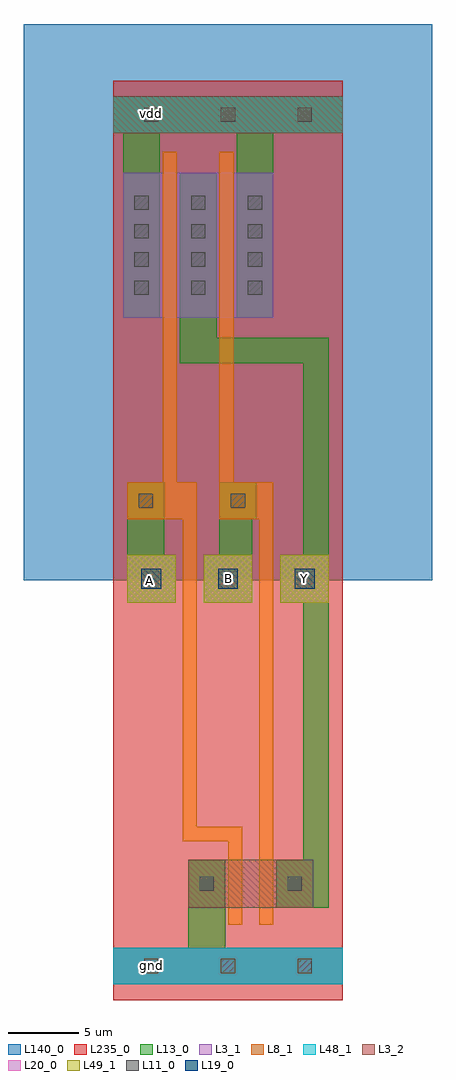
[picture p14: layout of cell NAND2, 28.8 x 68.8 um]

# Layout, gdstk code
import gdstk
lib = gdstk.Library(unit=1e-6, precision=1e-09)
def R(c, l, rs):  # rectangles x0, y0, x1, y1
    for r in rs: c.add(gdstk.rectangle(r[:2], r[2:], *l))
def A(c, l, x, y, w, h, nx, ny, dx, dy):  # array of equal rectangles
    R(c, l, [(x+i*dx, y+j*dy, x+i*dx+w, y+j*dy+h) for i in range(nx) for j in range(ny)])
def P(c, l, *ps):  # polygons
    for p in ps: c.add(gdstk.Polygon(p, *l))
L3_1 = (3, 1)
L3_2 = (3, 2)
L8_1 = (8, 1)
L11_0 = (11, 0)
L13_0 = (13, 0)
L19_0 = (19, 0)
L20_0 = (20, 0)
L48_1 = (48, 1)
L49_1 = (49, 1)
L140_0 = (140, 0)
L235_0 = (235, 0)

nand2 = lib.new_cell('NAND2')
R(nand2, L3_1, [(0,1.1,16.2,3.7), (0.7,48.1,7.3,58.3), (4.7,48.1,11.3,58.3)])
R(nand2, L3_2, [(5.3,6.5,14.1,9.9), (0,61.1,16.2,63.7)])
P(nand2, L8_1, [(8.1,5.3),(8.1,11.2),(4.9,11.2),(4.9,33.9),(1,33.9),(1,36.5),(3.5,36.5),(3.5,59.8),(4.5,59.8),(4.5,36.5),(5.9,36.5),(5.9,12.2),(9.1,12.2),(9.1,5.3)],
  [(10.3,5.3),(10.3,13),(10.3,33.9),(7.5,33.9),(7.5,36.5),(7.5,59.8),(8.5,59.8),(8.5,36.5),(11.3,36.5),(11.3,12),(11.3,5.3)])
A(nand2, L11_0, 1.5, 49.7, 1, 1, 3, 4, 4, 2)
R(nand2, L11_0, [(2.2,1.9,3.2,2.9), (7.6,1.9,8.6,2.9), (7.6,1.9,8.6,2.9), (13,1.9,14,2.9), (6.1,7.7,7.1,8.7), (12.3,7.7,13.3,8.7), (1.8,34.7,2.8,35.7), (8.3,34.7,9.3,35.7), (2.2,61.9,3.2,62.9), (2.2,61.9,3.2,62.9), (7.6,61.9,8.6,62.9), (7.6,61.9,8.6,62.9), (7.6,61.9,8.6,62.9), (7.6,61.9,8.6,62.9), (13,61.9,14,62.9)])
R(nand2, L13_0, [(5.3,3.7,7.9,9.9), (1,28,4.4,31.4), (1,28,4.4,31.4), (6.4,28,9.8,31.4), (6.4,28,9.8,31.4), (11.8,28,15.2,31.4), (1,31.4,3.6,36.5), (4.7,44.9,7.3,58.3), (0.7,48.1,3.3,61.1), (8.7,48.1,11.3,61.1), (0,61.1,16.2,63.7)])
P(nand2, L13_0, [(11.5,6.5),(11.5,9.9),(13.4,9.9),(13.4,28),(11.8,28),(11.8,31.4),(13.4,31.4),(13.4,44.9),(4.7,44.9),(4.7,46.7),(15.2,46.7),(15.2,6.5)],
  [(0,1.1),(0,3.7),(0.7,3.7),(3.3,3.7),(16.2,3.7),(16.2,1.1)],
  [(7.5,31.4),(7.5,36.5),(10.1,36.5),(10.1,33.9),(9.8,33.9),(9.8,31.4)])
A(nand2, L19_0, 2, 29, 1.4, 1.4, 3, 1, 5.4, 0)
A(nand2, L20_0, 1, 28, 3.4, 3.4, 3, 1, 5.4, 0)
R(nand2, L48_1, [(0,1.1,16.2,3.7), (0,61.1,16.2,63.7)])
A(nand2, L49_1, 1, 28, 3.4, 3.4, 3, 1, 5.4, 0)
R(nand2, L140_0, [(-6.3,29.6,22.5,68.8)])
R(nand2, L235_0, [(0,0,16.2,64.8)])
nand2.add(gdstk.Label('A', (2.6,29.6), layer=49, texttype=0))
nand2.add(gdstk.Label('Y', (13.5,29.7), layer=49, texttype=0))
nand2.add(gdstk.Label('B', (8.1,29.7), layer=49, texttype=0))
nand2.add(gdstk.Label('gnd', (2.7,2.4), layer=48, texttype=0))
nand2.add(gdstk.Label('vdd', (2.7,62.5), layer=48, texttype=0))

lib.write_gds('NAND2.gds')
